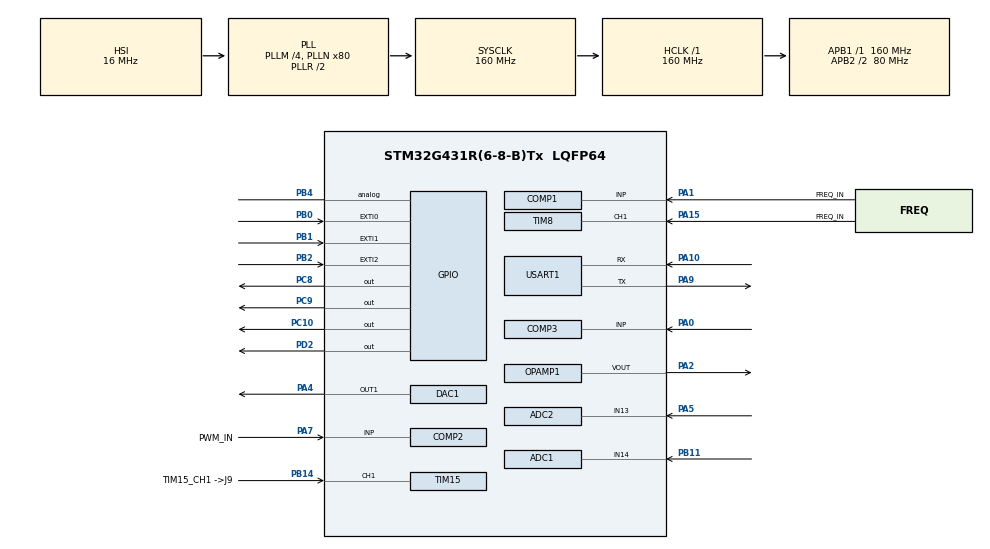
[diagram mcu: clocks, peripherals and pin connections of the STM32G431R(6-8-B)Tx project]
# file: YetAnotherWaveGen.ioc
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ADC1.Channel-0\#ChannelRegularConversion=ADC_CHANNEL_14
ADC1.NbrOfConversionFlag=1
ADC1.OffsetNumber-0\#ChannelRegularConversion=ADC_OFFSET_NONE
ADC1.Rank-0\#ChannelRegularConversion=1
ADC1.SamplingTime-0\#ChannelRegularConversion=ADC_SAMPLETIME_2CYCLES_5
ADC1.master=1
ADC2.Channel-2\#ChannelRegularConversion=ADC_CHANNEL_13
ADC2.NbrOfConversionFlag=1
ADC2.OffsetNumber-2\#ChannelRegularConversion=ADC_OFFSET_NONE
ADC2.Rank-2\#ChannelRegularConversion=1
ADC2.SamplingTime-2\#ChannelRegularConversion=ADC_SAMPLETIME_2CYCLES_5
COMP1.TriggerMode=COMP_TRIGGERMODE_EVENT_RISING_FALLING
COMP2.TriggerMode=COMP_TRIGGERMODE_EVENT_RISING_FALLING
COMP3.TriggerMode=COMP_TRIGGERMODE_IT_RISING
DAC1.DAC_OutputBuffer-DAC_OUT1=DAC_OUTPUTBUFFER_ENABLE
DAC1.DAC_SampleAndHold-DAC_OUT1=DAC_SAMPLEANDHOLD_DISABLE
DAC1.DAC_Trigger2_OUT1-DAC_OUT1=DAC_TRIGGER_NONE
DAC1.DAC_Trigger_OUT1-DAC_OUT1=DAC_TRIGGER_NONE
DAC3.DAC_Trigger2_OUT1-DAC_OUT1_Int=DAC_TRIGGER_NONE
DAC3.DAC_Trigger_OUT1-DAC_OUT1_Int=DAC_TRIGGER_NONE
Dma.ADC1.2.Direction=DMA_PERIPH_TO_MEMORY
Dma.ADC1.2.EventEnable=DISABLE
Dma.ADC1.2.Instance=DMA1_Channel3
Dma.ADC1.2.MemDataAlignment=DMA_MDATAALIGN_HALFWORD
Dma.ADC1.2.MemInc=DMA_MINC_ENABLE
Dma.ADC1.2.Mode=DMA_CIRCULAR
Dma.ADC1.2.PeriphDataAlignment=DMA_PDATAALIGN_HALFWORD
Dma.ADC1.2.PeriphInc=DMA_PINC_DISABLE
Dma.ADC1.2.Polarity=HAL_DMAMUX_REQ_GEN_RISING
Dma.ADC1.2.Priority=DMA_PRIORITY_LOW
Dma.ADC1.2.RequestNumber=1
Dma.ADC1.2.SignalID=NONE
Dma.ADC1.2.SyncEnable=DISABLE
Dma.ADC1.2.SyncPolarity=HAL_DMAMUX_SYNC_NO_EVENT
Dma.ADC1.2.SyncRequestNumber=1
Dma.ADC1.2.SyncSignalID=NONE
Dma.ADC2.4.Direction=DMA_PERIPH_TO_MEMORY
Dma.ADC2.4.EventEnable=DISABLE
Dma.ADC2.4.Instance=DMA1_Channel2
Dma.ADC2.4.MemDataAlignment=DMA_MDATAALIGN_HALFWORD
Dma.ADC2.4.MemInc=DMA_MINC_ENABLE
Dma.ADC2.4.Mode=DMA_CIRCULAR
Dma.ADC2.4.PeriphDataAlignment=DMA_PDATAALIGN_HALFWORD
Dma.ADC2.4.PeriphInc=DMA_PINC_DISABLE
Dma.ADC2.4.Polarity=HAL_DMAMUX_REQ_GEN_RISING
Dma.ADC2.4.Priority=DMA_PRIORITY_LOW
Dma.ADC2.4.RequestNumber=1
Dma.ADC2.4.SignalID=NONE
Dma.ADC2.4.SyncEnable=DISABLE
Dma.ADC2.4.SyncPolarity=HAL_DMAMUX_SYNC_NO_EVENT
Dma.ADC2.4.SyncRequestNumber=1
Dma.ADC2.4.SyncSignalID=NONE
Dma.CORDIC_READ.0.Direction=DMA_PERIPH_TO_MEMORY
Dma.CORDIC_READ.0.EventEnable=DISABLE
Dma.CORDIC_READ.0.Instance=DMA2_Channel2
Dma.CORDIC_READ.0.MemDataAlignment=DMA_MDATAALIGN_WORD
Dma.CORDIC_READ.0.MemInc=DMA_MINC_ENABLE
Dma.CORDIC_READ.0.Mode=DMA_NORMAL
Dma.CORDIC_READ.0.PeriphDataAlignment=DMA_PDATAALIGN_WORD
Dma.CORDIC_READ.0.PeriphInc=DMA_PINC_DISABLE
Dma.CORDIC_READ.0.Polarity=HAL_DMAMUX_REQ_GEN_RISING
Dma.CORDIC_READ.0.Priority=DMA_PRIORITY_LOW
Dma.CORDIC_READ.0.RequestNumber=1
Dma.CORDIC_READ.0.SignalID=NONE
Dma.CORDIC_READ.0.SyncEnable=DISABLE
Dma.CORDIC_READ.0.SyncPolarity=HAL_DMAMUX_SYNC_NO_EVENT
Dma.CORDIC_READ.0.SyncRequestNumber=1
Dma.CORDIC_READ.0.SyncSignalID=NONE
Dma.CORDIC_WRITE.1.Direction=DMA_MEMORY_TO_PERIPH
Dma.CORDIC_WRITE.1.EventEnable=DISABLE
Dma.CORDIC_WRITE.1.Instance=DMA2_Channel3
Dma.CORDIC_WRITE.1.MemDataAlignment=DMA_MDATAALIGN_WORD
Dma.CORDIC_WRITE.1.MemInc=DMA_MINC_ENABLE
Dma.CORDIC_WRITE.1.Mode=DMA_NORMAL
Dma.CORDIC_WRITE.1.PeriphDataAlignment=DMA_PDATAALIGN_WORD
Dma.CORDIC_WRITE.1.PeriphInc=DMA_PINC_DISABLE
Dma.CORDIC_WRITE.1.Polarity=HAL_DMAMUX_REQ_GEN_RISING
Dma.CORDIC_WRITE.1.Priority=DMA_PRIORITY_LOW
Dma.CORDIC_WRITE.1.RequestNumber=1
Dma.CORDIC_WRITE.1.SignalID=NONE
Dma.CORDIC_WRITE.1.SyncEnable=DISABLE
Dma.CORDIC_WRITE.1.SyncPolarity=HAL_DMAMUX_SYNC_NO_EVENT
Dma.CORDIC_WRITE.1.SyncRequestNumber=1
Dma.CORDIC_WRITE.1.SyncSignalID=NONE
Dma.Request0=CORDIC_READ
Dma.Request1=CORDIC_WRITE
Dma.Request2=ADC1
Dma.Request3=USART1_RX
Dma.Request4=ADC2
Dma.Request5=TIM15_CH1
Dma.Request6=TIM8_CH1
Dma.Request7=TIM4_CH1
Dma.Request8=TIM1_CH1
Dma.Request9=TIM1_CH2
Dma.TIM15_CH1.5.Direction=DMA_PERIPH_TO_MEMORY
Dma.TIM15_CH1.5.EventEnable=DISABLE
Dma.TIM15_CH1.5.Instance=DMA2_Channel1
Dma.TIM15_CH1.5.MemDataAlignment=DMA_MDATAALIGN_HALFWORD
Dma.TIM15_CH1.5.MemInc=DMA_MINC_ENABLE
Dma.TIM15_CH1.5.Mode=DMA_CIRCULAR
Dma.TIM15_CH1.5.PeriphDataAlignment=DMA_PDATAALIGN_WORD
Dma.TIM15_CH1.5.PeriphInc=DMA_PINC_DISABLE
Dma.TIM15_CH1.5.Polarity=HAL_DMAMUX_REQ_GEN_RISING
Dma.TIM15_CH1.5.Priority=DMA_PRIORITY_LOW
Dma.TIM15_CH1.5.RequestNumber=1
Dma.TIM15_CH1.5.SignalID=NONE
Dma.TIM15_CH1.5.SyncEnable=DISABLE
Dma.TIM15_CH1.5.SyncPolarity=HAL_DMAMUX_SYNC_NO_EVENT
Dma.TIM15_CH1.5.SyncRequestNumber=1
Dma.TIM15_CH1.5.SyncSignalID=NONE
Dma.TIM1_CH1.8.Direction=DMA_PERIPH_TO_MEMORY
Dma.TIM1_CH1.8.EventEnable=DISABLE
Dma.TIM1_CH1.8.Instance=DMA1_Channel6
Dma.TIM1_CH1.8.MemDataAlignment=DMA_MDATAALIGN_HALFWORD
Dma.TIM1_CH1.8.MemInc=DMA_MINC_ENABLE
Dma.TIM1_CH1.8.Mode=DMA_CIRCULAR
Dma.TIM1_CH1.8.PeriphDataAlignment=DMA_PDATAALIGN_WORD
Dma.TIM1_CH1.8.PeriphInc=DMA_PINC_DISABLE
Dma.TIM1_CH1.8.Polarity=HAL_DMAMUX_REQ_GEN_RISING
Dma.TIM1_CH1.8.Priority=DMA_PRIORITY_LOW
Dma.TIM1_CH1.8.RequestNumber=1
Dma.TIM1_CH1.8.SignalID=NONE
Dma.TIM1_CH1.8.SyncEnable=DISABLE
Dma.TIM1_CH1.8.SyncPolarity=HAL_DMAMUX_SYNC_NO_EVENT
Dma.TIM1_CH1.8.SyncRequestNumber=1
Dma.TIM1_CH1.8.SyncSignalID=NONE
Dma.TIM1_CH2.9.Direction=DMA_PERIPH_TO_MEMORY
Dma.TIM1_CH2.9.EventEnable=DISABLE
Dma.TIM1_CH2.9.Instance=DMA2_Channel6
Dma.TIM1_CH2.9.MemDataAlignment=DMA_MDATAALIGN_HALFWORD
Dma.TIM1_CH2.9.MemInc=DMA_MINC_ENABLE
Dma.TIM1_CH2.9.Mode=DMA_CIRCULAR
Dma.TIM1_CH2.9.PeriphDataAlignment=DMA_PDATAALIGN_WORD
Dma.TIM1_CH2.9.PeriphInc=DMA_PINC_DISABLE
Dma.TIM1_CH2.9.Polarity=HAL_DMAMUX_REQ_GEN_RISING
Dma.TIM1_CH2.9.Priority=DMA_PRIORITY_LOW
Dma.TIM1_CH2.9.RequestNumber=1
Dma.TIM1_CH2.9.SignalID=NONE
Dma.TIM1_CH2.9.SyncEnable=DISABLE
Dma.TIM1_CH2.9.SyncPolarity=HAL_DMAMUX_SYNC_NO_EVENT
Dma.TIM1_CH2.9.SyncRequestNumber=1
Dma.TIM1_CH2.9.SyncSignalID=NONE
Dma.TIM4_CH1.7.Direction=DMA_PERIPH_TO_MEMORY
Dma.TIM4_CH1.7.EventEnable=DISABLE
Dma.TIM4_CH1.7.Instance=DMA2_Channel4
Dma.TIM4_CH1.7.MemDataAlignment=DMA_MDATAALIGN_HALFWORD
Dma.TIM4_CH1.7.MemInc=DMA_MINC_ENABLE
Dma.TIM4_CH1.7.Mode=DMA_CIRCULAR
Dma.TIM4_CH1.7.PeriphDataAlignment=DMA_PDATAALIGN_WORD
Dma.TIM4_CH1.7.PeriphInc=DMA_PINC_DISABLE
Dma.TIM4_CH1.7.Polarity=HAL_DMAMUX_REQ_GEN_RISING
Dma.TIM4_CH1.7.Priority=DMA_PRIORITY_LOW
Dma.TIM4_CH1.7.RequestNumber=1
Dma.TIM4_CH1.7.SignalID=NONE
Dma.TIM4_CH1.7.SyncEnable=DISABLE
Dma.TIM4_CH1.7.SyncPolarity=HAL_DMAMUX_SYNC_NO_EVENT
Dma.TIM4_CH1.7.SyncRequestNumber=1
Dma.TIM4_CH1.7.SyncSignalID=NONE
Dma.TIM8_CH1.6.Direction=DMA_PERIPH_TO_MEMORY
Dma.TIM8_CH1.6.EventEnable=DISABLE
Dma.TIM8_CH1.6.Instance=DMA2_Channel5
Dma.TIM8_CH1.6.MemDataAlignment=DMA_MDATAALIGN_HALFWORD
Dma.TIM8_CH1.6.MemInc=DMA_MINC_ENABLE
Dma.TIM8_CH1.6.Mode=DMA_CIRCULAR
Dma.TIM8_CH1.6.PeriphDataAlignment=DMA_PDATAALIGN_WORD
Dma.TIM8_CH1.6.PeriphInc=DMA_PINC_DISABLE
Dma.TIM8_CH1.6.Polarity=HAL_DMAMUX_REQ_GEN_RISING
Dma.TIM8_CH1.6.Priority=DMA_PRIORITY_LOW
Dma.TIM8_CH1.6.RequestNumber=1
Dma.TIM8_CH1.6.SignalID=NONE
Dma.TIM8_CH1.6.SyncEnable=DISABLE
Dma.TIM8_CH1.6.SyncPolarity=HAL_DMAMUX_SYNC_NO_EVENT
Dma.TIM8_CH1.6.SyncRequestNumber=1
Dma.TIM8_CH1.6.SyncSignalID=NONE
Dma.USART1_RX.3.Direction=DMA_PERIPH_TO_MEMORY
Dma.USART1_RX.3.EventEnable=DISABLE
Dma.USART1_RX.3.Instance=DMA1_Channel4
Dma.USART1_RX.3.MemDataAlignment=DMA_MDATAALIGN_BYTE
Dma.USART1_RX.3.MemInc=DMA_MINC_ENABLE
Dma.USART1_RX.3.Mode=DMA_NORMAL
Dma.USART1_RX.3.PeriphDataAlignment=DMA_PDATAALIGN_BYTE
Dma.USART1_RX.3.PeriphInc=DMA_PINC_DISABLE
Dma.USART1_RX.3.Polarity=HAL_DMAMUX_REQ_GEN_RISING
Dma.USART1_RX.3.Priority=DMA_PRIORITY_LOW
Dma.USART1_RX.3.RequestNumber=1
Dma.USART1_RX.3.SignalID=NONE
Dma.USART1_RX.3.SyncEnable=DISABLE
Dma.USART1_RX.3.SyncPolarity=HAL_DMAMUX_SYNC_NO_EVENT
Dma.USART1_RX.3.SyncRequestNumber=1
Dma.USART1_RX.3.SyncSignalID=NONE
Mcu.Family=STM32G4
Mcu.Name=STM32G431R(6-8-B)Tx
Mcu.Package=LQFP64
NVIC.ADC1_2_IRQn=true\:2\:0\:true\:false\:true\:true\:true\:true
NVIC.COMP1_2_3_IRQn=true\:1\:0\:true\:false\:true\:false\:true\:true
NVIC.CORDIC_IRQn=true\:3\:0\:true\:false\:true\:true\:true\:true
NVIC.DMA1_Channel2_IRQn=true\:0\:0\:false\:false\:true\:false\:true\:true
NVIC.DMA1_Channel3_IRQn=true\:0\:0\:false\:false\:true\:false\:true\:true
NVIC.DMA1_Channel4_IRQn=true\:0\:0\:false\:false\:true\:false\:true\:true
NVIC.DMA1_Channel6_IRQn=true\:0\:0\:false\:false\:true\:false\:true\:true
NVIC.DMA2_Channel1_IRQn=true\:2\:0\:true\:false\:true\:false\:true\:true
NVIC.DMA2_Channel2_IRQn=true\:2\:0\:true\:false\:true\:false\:true\:true
NVIC.DMA2_Channel3_IRQn=true\:2\:0\:true\:false\:true\:false\:true\:true
NVIC.DMA2_Channel4_IRQn=true\:2\:0\:true\:false\:true\:false\:true\:true
NVIC.DMA2_Channel5_IRQn=true\:2\:0\:true\:false\:true\:false\:true\:true
NVIC.DMA2_Channel6_IRQn=true\:2\:0\:true\:false\:true\:false\:true\:true
NVIC.EXTI0_IRQn=true\:1\:0\:true\:false\:true\:true\:true\:true
NVIC.EXTI1_IRQn=true\:1\:0\:true\:false\:true\:true\:true\:true
NVIC.EXTI2_IRQn=true\:1\:0\:true\:false\:true\:true\:true\:true
NVIC.PriorityGroup=NVIC_PRIORITYGROUP_4
NVIC.TIM1_CC_IRQn=true\:2\:0\:true\:false\:true\:true\:true\:true
NVIC.TIM1_UP_TIM16_IRQn=true\:3\:0\:true\:false\:true\:true\:true\:true
NVIC.TIM2_IRQn=true\:2\:0\:true\:false\:true\:true\:true\:true
NVIC.TIM4_IRQn=true\:2\:0\:true\:false\:true\:true\:true\:true
NVIC.TIM6_DAC_IRQn=true\:2\:0\:true\:false\:true\:true\:true\:true
NVIC.TIM7_IRQn=true\:2\:0\:true\:false\:true\:true\:true\:true
NVIC.USART1_IRQn=true\:2\:0\:true\:false\:true\:true\:true\:true
OPAMP1.PowerMode=OPAMP_POWERMODE_HIGHSPEED
PA0.Mode=INP
PA0.Signal=COMP3_INP
PA1.GPIO_Label=FREQ_IN
PA1.Mode=INP
PA1.Signal=COMP1_INP
PA10.Mode=Asynchronous
PA10.Signal=USART1_RX
PA13.Mode=Serial_Wire
PA13.Signal=SYS_JTMS-SWDIO
PA14.Mode=Serial_Wire
PA14.Signal=SYS_JTCK-SWCLK
PA15.GPIO_Label=FREQ_IN
PA15.Signal=S_TIM8_CH1
PA2.Mode=Follower-DAC_OUT2-INP
PA2.Signal=OPAMP1_VOUT
PA4.Signal=COMP_DAC11_group
PA5.Mode=IN13-Single-Ended
PA5.Signal=ADC2_IN13
PA7.GPIO_Label=PWM_IN
PA7.Mode=INP
PA7.Signal=COMP2_INP
PA9.Mode=Asynchronous
PA9.Signal=USART1_TX
PB0.Signal=GPXTI0
PB1.Signal=GPXTI1
PB11.Mode=IN14-Single-Ended
PB11.Signal=ADC1_IN14
PB14.GPIO_Label=TIM15_CH1 ->J9
PB14.Signal=S_TIM15_CH1
PB2.Signal=GPXTI2
PB4.Signal=GPIO_Analog
PC10.Signal=GPIO_Output
PC8.Signal=GPIO_Output
PC9.Signal=GPIO_Output
PD2.Signal=GPIO_Output
PF0-OSC_IN.Mode=HSE-External-Oscillator
PF0-OSC_IN.Signal=RCC_OSC_IN
PF1-OSC_OUT.Mode=HSE-External-Oscillator
PF1-OSC_OUT.Signal=RCC_OSC_OUT
ProjectManager.HeapSize=0x200
ProjectManager.StackSize=0x400
ProjectManager.TargetToolchain=MDK-ARM V5
RCC.ADC12Freq_Value=160000000
RCC.AHBFreq_Value=160000000
RCC.APB1Freq_Value=160000000
RCC.APB1TimFreq_Value=160000000
RCC.APB2CLKDivider=RCC_HCLK_DIV2
RCC.APB2Freq_Value=80000000
RCC.APB2TimFreq_Value=160000000
RCC.CortexFreq_Value=160000000
RCC.EXTERNAL_CLOCK_VALUE=12288000
RCC.HCLKFreq_Value=160000000
RCC.HSE_VALUE=8000000
RCC.HSI48_VALUE=48000000
RCC.HSI_VALUE=16000000
RCC.LSE_VALUE=32768
RCC.PLLM=RCC_PLLM_DIV4
RCC.PLLN=80
RCC.SYSCLKFreq_VALUE=160000000
RCC.SYSCLKSource=RCC_SYSCLKSOURCE_PLLCLK
RCC.USBFreq_Value=160000000
RCC.VCOOutputFreq_Value=320000000
SH.COMP_DAC11_group.0=DAC1_OUT1,DAC_OUT1
SH.S_TIM15_CH1.0=TIM15_CH1,Input_Capture1_from_TI1
SH.S_TIM15_CH1.1=TIM15_CH1,TriggerSource_TI1FP1
SH.S_TIM8_CH1.0=TIM8_CH1,TriggerSource_TI1FP1
SH.S_TIM8_CH1.1=TIM8_CH1,Input_Capture1_from_TI1
TIM1.Channel-Input_Capture1_from_TI1_REMAP_TIM1=TIM_CHANNEL_1
TIM1.Channel-Input_Capture2_from_TI1_63=TIM_CHANNEL_2
TIM1.ICPolarity_CH1=TIM_INPUTCHANNELPOLARITY_FALLING
TIM1.Prescaler=159
TIM1.TIM1_ETR_REMAP-TriggerSource_ETR_Remap_TIM1=TIM_TIM1_ETR_COMP2
TIM1.TIM1_TI1_REMAP-Input_Capture1_from_TI1_REMAP_TIM1=TIM_TIM1_TI1_COMP2
TIM15.Channel-Input_Capture1_from_TI1=TIM_CHANNEL_1
TIM15.Prescaler=159
TIM16.AutoReloadPreload=TIM_AUTORELOAD_PRELOAD_ENABLE
TIM16.PeriodNoDither=9999
TIM16.Prescaler=1599
TIM2.AutoReloadPreload=TIM_AUTORELOAD_PRELOAD_ENABLE
TIM2.PeriodNoDither=1599
TIM2.TIM_MasterOutputTrigger=TIM_TRGO_UPDATE
TIM2.TIM_MasterSlaveMode=TIM_MASTERSLAVEMODE_ENABLE
TIM4.Channel-Input_Capture1_from_TI1_REMAP_TIM4=TIM_CHANNEL_1
TIM4.PeriodNoDither=65535
TIM4.Prescaler=159
TIM4.TIM_MasterOutputTrigger=TIM_TRGO_RESET
TIM4.TIM_MasterSlaveMode=TIM_MASTERSLAVEMODE_DISABLE
TIM6.AutoReloadPreload=TIM_AUTORELOAD_PRELOAD_ENABLE
TIM6.PeriodNoDither=9999
TIM6.Prescaler=1599
TIM7.AutoReloadPreload=TIM_AUTORELOAD_PRELOAD_ENABLE
TIM7.Prescaler=159
TIM8.Channel-Input_Capture1_from_TI1=TIM_CHANNEL_1
TIM8.Prescaler=159
USART1.VirtualMode-Asynchronous=VM_ASYNC
VP_COMP1_VS_VREFINT14.Mode=VREFINT_14
VP_COMP2_VS_VREFINT14.Mode=VREFINT_14
VP_COMP3_VS_VREFINT.Mode=VREFINT
VP_CORDIC_VS_CORDIC.Mode=CORDIC_Activate
VP_DAC3_VS_DACI1.Mode=DAC_OUT1_Int
VP_SYS_VS_DBSignals.Mode=DisableDeadBatterySignals
VP_TIM15_VS_ClockSourceINT.Mode=Internal
VP_TIM15_VS_ControllerModeReset.Mode=Reset Mode
VP_TIM16_VS_ClockSourceINT.Mode=Enable_Timer
VP_TIM1_VS_ClockSourceINT.Mode=Internal
VP_TIM1_VS_ControllerModeReset.Mode=Reset Mode
VP_TIM1_VS_NoETR.Mode=TriggerSource_ETR_Remap_TIM1
VP_TIM1_VS_NoInput1.Mode=Input_Capture1_from_TI1_REMAP_TIM1
VP_TIM1_VS_indirect_ch1.Mode=Input_Capture2_from_TI1_63
VP_TIM2_VS_ClockSourceINT.Mode=Internal
VP_TIM3_VS_ClockSourceITR.Mode=TriggerSource_ITR1
VP_TIM3_VS_ControllerModeClock.Mode=Clock Mode
VP_TIM4_VS_ClockSourceINT.Mode=Internal
VP_TIM4_VS_ControllerModeReset.Mode=Reset Mode
VP_TIM4_VS_NoETR.Mode=TriggerSource_ETR_Remap_TIM4
VP_TIM4_VS_NoInput1.Mode=Input_Capture1_from_TI1_REMAP_TIM4
VP_TIM6_VS_ClockSourceINT.Mode=Enable_Timer
VP_TIM7_VS_ClockSourceINT.Mode=Enable_Timer
VP_TIM8_VS_ClockSourceINT.Mode=Internal
VP_TIM8_VS_ControllerModeReset.Mode=Reset Mode
board=custom

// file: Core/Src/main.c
/* USER CODE BEGIN Header */
/**
 ******************************************************************************
 * @file           : main.c
 * @brief          : Main program body
 ******************************************************************************
 * @attention
 *
 * Copyright (c) 2023 STMicroelectronics.
 * All rights reserved.
 *
 * This software is licensed under terms that can be found in the LICENSE file
 * in the root directory of this software component.
 * If no LICENSE file comes with this software, it is provided AS-IS.
 *
 ******************************************************************************
 */
/* USER CODE END Header */
#include "main.h"
#include "adc.h"
#include "comp.h"
#include "cordic.h"
#include "dac.h"
#include "dma.h"
#include "opamp.h"
#include "tim.h"
#include "usart.h"
#include "gpio.h"

/* USER CODE BEGIN Includes */

#include <stdbool.h>
#include <stdlib.h>
#include <stdarg.h>
#include <stdio.h>
#include <string.h>
#include <math.h>
#include "lcd.h"

/* USER CODE END Includes */

/* USER CODE BEGIN PTD */

typedef struct _WaveOptions
{
	bool on;
	uint16_t A;  // CON mode ignore
	uint16_t dA; // CON mode ignore, x0.01
	uint16_t F;  // CON mode ignore
	uint16_t T;  // CON mode ignore
	int16_t O;
	int16_t dO;
	uint16_t D;  // PWM only
	uint16_t HT; // PWM only
} WaveOptions;

/* USER CODE END PTD */

/* USER CODE BEGIN PD */

#define GRAPH_UPD_F 40 // Hz
#define Pi 3.141593f
#define DARK_MAG /*0x9814*/ White

#define PwmFunc (opts[0].A * (__HAL_TIM_GetCounter(&htim3) < opts[0].HT) + opts[0].O)
//#define TriFunc	(opts[1].A * ((__HAL_TIM_GetCounter(&htim3) % 2) ? (1 - (float)__HAL_TIM_GetCounter(&htim3) / __HAL_TIM_GET_AUTORELOAD(&htim3)) : \
	((float)__HAL_TIM_GetCounter(&htim3) / __HAL_TIM_GET_AUTORELOAD(&htim3))) + opts[1].O)
#define SawFunc (opts[3].A * (float)__HAL_TIM_GetCounter(&htim3) / __HAL_TIM_GET_AUTORELOAD(&htim3) + opts[3].O)
// Triangle wave alg: uses a saw func but twice the size
#define TriFunc (opts[1].A * fabs((float)__HAL_TIM_GetCounter(&htim3) / __HAL_TIM_GET_AUTORELOAD(&htim3) * 2 - 1) + opts[1].O)
#define SinFunc (opts[2].A * sin((float)__HAL_TIM_GetCounter(&htim3) / __HAL_TIM_GET_AUTORELOAD(&htim3) * Pi * 2) / 2 + opts[2].O + 2048)
#define ConFunc opts[4].O

/* USER CODE END PD */

/* USER CODE BEGIN PM */

#define lds(x, s)                           \
	HAL_GPIO_WritePin(GPIOC, 0x0080 << x, s); \
	HAL_GPIO_WritePin(GPIOD, 0x0002, 1);      \
	HAL_GPIO_WritePin(GPIOD, 0x0002, 0)

#define transmit(m) \
	HAL_UART_Transmit(&huart1, (uint8_t *)m, sizeof(m), 0x7FFF)

// Do not use
#define SinSend(x, f) /*Call sinSend(cnt+1) right after the calculated value is used to minimize waiting time*/ \
	sinCalcBuf = ((int)(x * f * .5 - 1) << 16) + 1;                                                               \
	memset(sinCalcRes, 0, 2);                                                                                     \
	waitCalc = true;                                                                                              \
	HAL_CORDIC_Calculate_DMA(&hcordic, &sinCalcBuf, (int32_t *)sinCalcRes, 1, CORDIC_DMA_DIR_IN_OUT)

#define getKeyRange(v)                                                                                           \
	((v < 2500) ? (v < 1500) ? 3 - !(v & 0xFF00) - !(v & 0xFC00) : 5 - !(v & 0xF800) : (v < 3600) ? 6 + (v > 3000) \
																																																: (v < 4000) << 3)

#define lcdSideUpdAll()   \
	for (int i = 4; i;)   \
		lcdUpdSide(i--, false)

#define debug(x)                                            \
	uint8_t *t = format("%6d", x); \
	LCD_DisplayStringLine(Line1, t);                          \
	free(t)

/* USER CODE END PM */

/* USER CODE BEGIN PV */

const uint8_t topStr[] = "PWM Wave \0Triangle \0Sine Wave\0Sawtooth \0Constant ";
const uint8_t onOffStr[] = "Off \0 On ";
const uint8_t altsStr[] = " DA \0TIMR\0DA_1";

uint16_t adcBuf[2] = {0}; // use as uint32_t in DMA
uint32_t adc1Buf = 0;
// uint32_t	dac1val		= 0;
// uint32_t	dac3val		= 0;
uint8_t topSel = 0;  // 0 - 4 valid
uint8_t sideSel = 0; // 0 - 7/8 valid
uint16_t graphY = 310;

WaveOptions opts[5];
WaveOptions *currentOpts = opts;

int32_t sinCalcBuf = 0;
volatile int16_t sinCalcRes[2] = {0};

uint16_t adcLoopbackLastVal = 220;
uint16_t dacGraphLastVal = 220;

bool waitCalc = false;

uint8_t rxBuf[128] = {0};
bool rxIdle = false;
uint32_t rxLen = 0;

//Analog input vars

bool aInput = false;

//freq max ~32000Hz, min ~700Hz

uint32_t pwmData[5] = {0};
uint32_t f1Data[5] = {0};
uint32_t f2Data[5] = {0};
uint32_t f3Data[5] = {0};

uint32_t npwm = 0;
uint32_t nf1  = 0;
uint32_t nf2  = 0;
uint32_t nf3  = 0;

uint32_t val;

volatile uint32_t pwm1;
volatile uint32_t pwm2;
volatile uint32_t f1;
volatile uint32_t f2;
volatile uint32_t f3;

/* USER CODE END PV */

void SystemClock_Config(void);
/* USER CODE BEGIN PFP */

uint8_t *format(char *, ...);

void HAL_TIM_PeriodElapsedCallback(TIM_HandleTypeDef *);
void HAL_GPIO_EXTI_Callback(uint16_t);
void HAL_COMP_TriggerCallback(COMP_HandleTypeDef *);
void HAL_CORDIC_CalculateCpltCallback(CORDIC_HandleTypeDef *);

void emuSetTim(const uint16_t);
void lcdSideShow(uint8_t, const uint8_t *, bool, bool);
void lcdUpdSide(uint8_t, bool);
void drawPt(uint16_t, uint16_t, uint16_t);
void graphReset(void);
void AAProc(uint16_t, uint16_t);
uint16_t filter(uint32_t *);

/* USER CODE END PFP */

int main(void)
{

  /* MCU Configuration--------------------------------------------------------*/

  /* Reset of all peripherals, Initializes the Flash interface and the Systick. */
  HAL_Init();

  /* Configure the system clock */
  SystemClock_Config();

  /* Initialize all configured peripherals */
  MX_GPIO_Init();
  MX_DMA_Init();
  MX_DAC3_Init();
  MX_OPAMP1_Init();
  MX_ADC2_Init();
  MX_CORDIC_Init();
  MX_DAC1_Init();
  MX_TIM2_Init();
  MX_COMP3_Init();
  MX_TIM7_Init();
  MX_TIM4_Init();
  MX_TIM3_Init();
  MX_ADC1_Init();
  MX_USART1_UART_Init();
  MX_COMP1_Init();
  MX_COMP2_Init();
  MX_TIM1_Init();
  MX_TIM6_Init();
  MX_TIM8_Init();
  MX_TIM15_Init();
  MX_TIM16_Init();
  /* USER CODE BEGIN 2 */

	// options init
	for (int i = 5; --i;)
	{
		currentOpts->on = false;      // str+0, +5
		currentOpts->A = 4095u;        // No display
		currentOpts->dA = 330u;
		currentOpts->D = 0u;
		currentOpts->F = 1u;
		currentOpts->HT = 0u; // No display
		// currentOpts->T	= 1;		//No display
		currentOpts->O = 0; // No display
		currentOpts->dO = 0;
		++currentOpts;
	}
	currentOpts = opts;

	// transmit("Initializing...");
	// uint8_t *txBuf = (uint8_t *)"Init......";
	// HAL_UART_Transmit_DMA(&huart1, txBuf, 11);
	// __HAL_UART_ENABLE_IT(&huart1, UART_IT_IDLE);
	// HAL_UART_Receive_DMA(&huart1, rxBuf, 128);

	CORDIC_ConfigTypeDef cordicCfg;
	cordicCfg.Function = CORDIC_FUNCTION_SINE;
	cordicCfg.InSize = CORDIC_INSIZE_16BITS;
	cordicCfg.OutSize = CORDIC_OUTSIZE_16BITS;
	cordicCfg.Scale = CORDIC_SCALE_0;
	cordicCfg.NbRead = CORDIC_NBREAD_2;
	cordicCfg.NbWrite = CORDIC_NBWRITE_2;
	cordicCfg.Precision = CORDIC_PRECISION_10CYCLES;
	HAL_CORDIC_Configure(&hcordic, &cordicCfg);

	HAL_OPAMP_SelfCalibrate(&hopamp1);
	HAL_OPAMP_Start(&hopamp1);

	LCD_Init();
	LCD_SetBackColor(Black);
	LCD_SetTextColor(White);
	LCD_Clear(Black);
	LCD_DrawRect(30, 320, 200, 250);
	LCD_SetTextColor(Red);
	LCD_DrawLine(58, 310, 230, Horizontal);  // 0.0V
	LCD_DrawLine(220, 310, 230, Horizontal); // 3.3V
	LCD_SetTextColor(White);
	LCD_DrawLine(73, 310, 230, Horizontal);  // 1.0V
	LCD_DrawLine(122, 310, 230, Horizontal); // 2.0V
	LCD_DrawLine(171, 310, 230, Horizontal); // 3.0V
	LCD_DisplayStringLine(Line0, (uint8_t *)(topStr + topSel * 10));
	lcdUpdSide(1, false);
	lcdUpdSide(2, false);
	lcdUpdSide(3, false);
	sideSel = 0;
	lcdSideShow(Line1, (uint8_t *)"Ampl", false, false);
	lcdSideShow(Line3, (uint8_t *)"Freq", false, false);
	lcdSideShow(Line5, (uint8_t *)"Ofst", false, false);
	lcdSideShow(Line7, (uint8_t *)"Duty\0    " + (topSel != 0), false, false);
	lcdSideShow(Line0, (uint8_t *)"Off ", true, false);

	HAL_COMP_Start(&hcomp3);

	HAL_ADCEx_Calibration_Start(&hadc2, ADC_SINGLE_ENDED);
	HAL_ADC_Start_DMA(&hadc2, (uint32_t *)adcBuf, 2);

	HAL_ADCEx_Calibration_Start(&hadc1, ADC_SINGLE_ENDED);
	HAL_ADC_Start_DMA(&hadc1, &adc1Buf, 1);

	// HAL_DAC_SetValue(&hdac1, DAC_CHANNEL_1, DAC_ALIGN_12B_R, 0);
	// HAL_DAC_SetValue(&hdac3, DAC_CHANNEL_1, DAC_ALIGN_12B_R, 0);
	HAL_DAC_Start(&hdac1, DAC_CHANNEL_1);
	HAL_DAC_Start(&hdac3, DAC_CHANNEL_1);
//	HAL_DAC_Start_DMA(&hdac1, DAC_CHANNEL_1, &val, 1, DAC_ALIGN_12B_R);
//	HAL_DAC_Start_DMA(&hdac3, DAC_CHANNEL_1, &val, 1, DAC_ALIGN_12B_R);

	__HAL_TIM_SetAutoreload(&htim7, 1000000 / GRAPH_UPD_F);

	HAL_TIM_Base_Start_IT(&htim4); // ADC trigger
	HAL_TIM_Base_Start(&htim3);    // DAC clock
	HAL_TIM_Base_Start_IT(&htim6); //DAC updater
	HAL_TIM_Base_Start_IT(&htim2); // new DAC updater
	HAL_TIM_Base_Start_IT(&htim7); //Graphic updater

	//Analog input
	HAL_COMP_Start(&hcomp1);
	HAL_COMP_Start(&hcomp2);
	HAL_TIM_IC_Start_DMA(&htim1, TIM_CHANNEL_1, &pwm1, 1);
	HAL_TIM_IC_Start_DMA(&htim1, TIM_CHANNEL_2, &pwm2, 1);
	HAL_TIM_IC_Start_DMA(&htim4, TIM_CHANNEL_1, &f1, 1);
	HAL_TIM_IC_Start_DMA(&htim8, TIM_CHANNEL_1, &f2, 1);
	HAL_TIM_IC_Start_DMA(&htim15, TIM_CHANNEL_1, &f3, 1);

	HAL_TIM_Base_Start_IT(&htim16);

	register int kr;
	register bool waitLift = false;

  /* USER CODE END 2 */

  /* Infinite loop */
  /* USER CODE BEGIN WHILE */
	while (1)
	{
		kr = getKeyRange(adcBuf[0]);
		//		uint8_t *t = format("%4d %4d", kr, adcBuf[0]);
		//		LCD_DisplayStringLine(Line8, t);
		//		free(t);

		if (!kr)
		{
			waitLift = false;
			continue;
		}
		if (!waitLift && !aInput && kr == getKeyRange(adcBuf[1]))
		{
			switch (getKeyRange(adcBuf[0]))
			{
			case 1: //-1000
				if (sideSel == 1)
				{
					currentOpts->dA = 0;
					currentOpts->A = currentOpts->dA / 330.0 * 0x0FFF;
					break;
				}
				if (sideSel == 2)
				{
					if (currentOpts->F <= 1001)
						currentOpts->F = 1;
					else
						currentOpts->F -= 1000;
					__HAL_TIM_SetAutoreload(&htim3, 10000 / currentOpts->F);
					break;
				}
				if (sideSel == 3)
				{
					currentOpts->dO = 0;
					currentOpts->O = currentOpts->dO / 330.0 * 0x0FFF;
					break;
				}
				if (sideSel == 4)
				{
					currentOpts->D = 0;
					break;
				}
				break;
			case 2: //-100
				if (sideSel == 1)
				{
					if (currentOpts->dA < 101)
						currentOpts->dA = 0;
					else
						currentOpts->dA -= 100;
					currentOpts->A = currentOpts->dA / 330.0 * 0x0FFF;
					break;
				}
				if (sideSel == 2)
				{
					if (currentOpts->F < 102)
						currentOpts->F = 1;
					else
						currentOpts->F -= 100;
					__HAL_TIM_SetAutoreload(&htim3, 10000 / currentOpts->F);
					break;
				}
				if (sideSel == 3)
				{
					if (currentOpts->dO < 101)
						currentOpts->O = 0;
					else
						currentOpts->dO -= 100;
					currentOpts->O = currentOpts->dO / 330.0 * 0x0FFF;
				}
				if (sideSel == 4)
				{
					currentOpts->D = 0;
					break;
				}
				break;
			case 3: //-10
				if (sideSel == 1)
				{
					if (currentOpts->dA < 11)
						currentOpts->dA = 0;
					else
						currentOpts->dA -= 10;
					currentOpts->A = currentOpts->dA / 330.0 * 0x0FFF;
					break;
				}
				if (sideSel == 2)
				{
					if (currentOpts->F < 12)
						currentOpts->F = 1;
					else
						currentOpts->F -= 10;
					__HAL_TIM_SetAutoreload(&htim3, 10000 / currentOpts->F);
					break;
				}
				if (sideSel == 3)
				{
					if (currentOpts->dO < 11)
						currentOpts->O = 0;
					else
						currentOpts->dO -= 10;
					currentOpts->O = currentOpts->dO / 330.0 * 0x0FFF;
				}
				if (sideSel == 4)
				{
					if (currentOpts->D < 11)
						currentOpts->D = 0;
					else
						currentOpts->D -= 10;
					break;
				}
				break;
			case 4: //-1
				if (sideSel == 1)
				{
					if (currentOpts->dA < 1)
						break;
					currentOpts->dA--;
					currentOpts->A = currentOpts->dA / 330.0 * 0x0FFF;
					break;
				}
				if (sideSel == 2)
				{
					if (currentOpts->F < 2)
						break;
					currentOpts->F--;
					__HAL_TIM_SetAutoreload(&htim3, 10000 / currentOpts->F);
					break;
				}
				if (sideSel == 3)
				{
					if (currentOpts->dO < 1)
						break;
					currentOpts->dO--;
					currentOpts->O = currentOpts->dO / 330.0 * 0x0FFF;
				}
				if (sideSel == 4)
				{
					if (currentOpts->D < 1)
						break;
					currentOpts->D--;
					break;
				}
				break;
			case 5: //+1000
				if (sideSel == 1)
				{
					currentOpts->dA = 330;
					currentOpts->A = currentOpts->dA / 330.0 * 0x0FFF;
					break;
				}
				if (sideSel == 2)
				{
					if (currentOpts->F > 8998)
						currentOpts->F = 9999;
					else
						currentOpts->F += 1000;
					__HAL_TIM_SetAutoreload(&htim3, 10000 / currentOpts->F);
					break;
				}
				if (sideSel == 3)
				{
					currentOpts->dO = 330 - currentOpts->dA;
					currentOpts->O = currentOpts->dO / 330.0 * 0x0FFF;
					break;
				}
				if (sideSel == 4)
				{
					currentOpts->D = 100;
					break;
				}
				break;
			case 6: //+100
				if (sideSel == 1)
				{
					if (currentOpts->dO + currentOpts->dA > 229)
						currentOpts->A = 330 - currentOpts->dA;
					else
						currentOpts->dA += 100;
					currentOpts->A = currentOpts->dA / 330.0 * 0x0FFF;
					break;
				}
				if (sideSel == 2)
				{
					if (currentOpts->F > 9898)
						currentOpts->F = 9999;
					else
						currentOpts->F += 100;
					__HAL_TIM_SetAutoreload(&htim3, 10000 / currentOpts->F);
					break;
				}
				if (sideSel == 3)
				{
					if (currentOpts->dO + currentOpts->dA > 229)
						currentOpts->O = 330 - currentOpts->dA;
					else
						currentOpts->dO += 100;
					currentOpts->O = currentOpts->dO / 330.0 * 0x0FFF;
					break;
				}
				if (sideSel == 4)
				{
					currentOpts->D = 100;
					break;
				}
				break;
			case 7: //+10
				if (sideSel == 1)
				{
					if (currentOpts->dO + currentOpts->dA > 319)
						currentOpts->dA = 330 - currentOpts->dA;
					else
						currentOpts->dA += 10;
					currentOpts->A = currentOpts->dA / 330.0 * 0x0FFF;
					break;
				}
				if (sideSel == 2)
				{
					if (currentOpts->F > 9988)
						currentOpts->F = 9999;
					else
						currentOpts->F += 10;
					__HAL_TIM_SetAutoreload(&htim3, 10000 / currentOpts->F);
					break;
				}
				if (sideSel == 3)
				{
					if (currentOpts->dO + currentOpts->dA > 319)
						currentOpts->O = 330 - currentOpts->dA;
					else
						currentOpts->dO += 10;
					currentOpts->O = currentOpts->dO / 330.0 * 0x0FFF;
					break;
				}
				if (sideSel == 4)
				{
					if (currentOpts->D > 89)
						currentOpts->D = 100;
					else
						currentOpts->D += 10;
					break;
				}
				break;
			case 8: //+1
				if (sideSel == 1)
				{
					if (currentOpts->dO + currentOpts->dA > 329)
						break;
					currentOpts->dA++;
					currentOpts->A = currentOpts->dA / 330.0 * 0x0FFF;
					break;
				}
				if (sideSel == 2)
				{
					if (currentOpts->F > 9988)
						break;
					currentOpts->F++;
					__HAL_TIM_SetAutoreload(&htim3, 10000 / currentOpts->F);
					break;
				}
				if (sideSel == 3)
				{
					if (currentOpts->dO + currentOpts->dA > 319)
						break;
					currentOpts->dO++;
					currentOpts->O = currentOpts->dO / 330.0 * 0x0FFF;
					break;
				}
				if (sideSel == 4)
				{
					if (currentOpts->D > 99)
						break;
					currentOpts->D++;
					break;
				}
				break;
			}
			if (topSel == 0)
				currentOpts->HT = 100 * currentOpts->D / (float)opts[0].F;
			lcdUpdSide(sideSel, true);
			waitLift = true;
		}

    /* USER CODE END WHILE */

	}
}

void SystemClock_Config(void)
{
  RCC_OscInitTypeDef RCC_OscInitStruct = {0};
  RCC_ClkInitTypeDef RCC_ClkInitStruct = {0};

  /** Configure the main internal regulator output voltage
  */
  HAL_PWREx_ControlVoltageScaling(PWR_REGULATOR_VOLTAGE_SCALE1_BOOST);

  /** Initializes the RCC Oscillators according to the specified parameters
  * in the RCC_OscInitTypeDef structure.
  */
  RCC_OscInitStruct.OscillatorType = RCC_OSCILLATORTYPE_HSI;
  RCC_OscInitStruct.HSIState = RCC_HSI_ON;
  RCC_OscInitStruct.HSICalibrationValue = RCC_HSICALIBRATION_DEFAULT;
  RCC_OscInitStruct.PLL.PLLState = RCC_PLL_ON;
  RCC_OscInitStruct.PLL.PLLSource = RCC_PLLSOURCE_HSI;
  RCC_OscInitStruct.PLL.PLLM = RCC_PLLM_DIV4;
  RCC_OscInitStruct.PLL.PLLN = 80;
  RCC_OscInitStruct.PLL.PLLP = RCC_PLLP_DIV2;
  RCC_OscInitStruct.PLL.PLLQ = RCC_PLLQ_DIV2;
  RCC_OscInitStruct.PLL.PLLR = RCC_PLLR_DIV2;
  if (HAL_RCC_OscConfig(&RCC_OscInitStruct) != HAL_OK)
  {
    Error_Handler();
  }

  /** Initializes the CPU, AHB and APB buses clocks
  */
  RCC_ClkInitStruct.ClockType = RCC_CLOCKTYPE_HCLK|RCC_CLOCKTYPE_SYSCLK
                              |RCC_CLOCKTYPE_PCLK1|RCC_CLOCKTYPE_PCLK2;
  RCC_ClkInitStruct.SYSCLKSource = RCC_SYSCLKSOURCE_PLLCLK;
  RCC_ClkInitStruct.AHBCLKDivider = RCC_SYSCLK_DIV1;
  RCC_ClkInitStruct.APB1CLKDivider = RCC_HCLK_DIV1;
  RCC_ClkInitStruct.APB2CLKDivider = RCC_HCLK_DIV2;

  if (HAL_RCC_ClockConfig(&RCC_ClkInitStruct, FLASH_LATENCY_4) != HAL_OK)
  {
    Error_Handler();
  }
}

/* USER CODE BEGIN 4 */

uint16_t filter(uint32_t *arr) {
	int max = 0, min = 1, sum = 0;
	int *cpy = (int *)malloc(5 * sizeof(int));
	memcpy(cpy, arr, 5 * sizeof(int));
	for(int i = 4; i >= 0; i--) {
		if(*(cpy + i) > *(cpy + max)) max = i;
		if(*(cpy + i) < *(cpy + min)) min = i;
	}
	for(int i = 4; i >= 0; i--) {
		if(i == max || i == min) continue;
		sum += *(cpy + i);
	}
	free(cpy);
	return (sum / 3);
}

void HAL_TIM_PeriodElapsedCallback(TIM_HandleTypeDef *htim)
{
	if (htim->Instance == TIM16) {
		pwmData[npwm++] = pwm1 * 100 / pwm2;
		if(npwm == 5) npwm = 0;

//		f1Data[nf1++] = 1000000 / f1;
//		if(nf1 == 5) nf1 = 0;

		f2Data[nf2++] = f2; // 1250 - 100
		if(nf2 == 5) nf2 = 0;

		f3Data[nf3++] = f3;
		if(nf3 == 5) nf3 = 0;

		if(aInput)
		{
			int x = filter(f3Data) - 100;
			if (x < 0) currentOpts->A = 0;
			else if(x > 1250) currentOpts->A = 4095;
			else currentOpts->A = x * 4095/ 1250;
			currentOpts->dA = currentOpts->A * 330 / 0x0FFF;
			x = filter(f2Data);
			if(currentOpts == &opts[2]) {
				x -= 600;
				//debug(x);
				int ot  = (4095 - currentOpts->A) * x / 1000;
				int max = 2048 - (currentOpts->A / 2);
				int min = -2048 + (currentOpts->A / 2);
				currentOpts->O  = (ot > max) ? max : (ot < min) ? min : ot;
				//debug(currentOpts->O);
			}
			else {
				x -= 50;
				int ot  = x * 4095 / 1250;
				int max = 4095 - currentOpts-> A;
				currentOpts->O = ot > max ? max : ot < 0 ? 0 : ot;
			}
			currentOpts->dO = currentOpts->O * 165 / 2048;
			currentOpts->D = filter(pwmData);
			currentOpts->HT = 100 * currentOpts->D / (float)opts[0].F;
			lcdSideUpdAll();
		}
		return;
	}
	if (htim->Instance == TIM6)
	{
		HAL_ADC_Start_DMA(&hadc2, (uint32_t *)adcBuf, 2);
		HAL_ADC_Start_DMA(&hadc1, &adc1Buf, 1);
		return;
	}
	if (htim->Instance == TIM2)
	{ // DAC update
		if (opts[0].on)
			val = PwmFunc;
		else if (opts[1].on)
			val = TriFunc;
		else if (opts[2].on)
			val = SinFunc;
		else if (opts[3].on)
			val = SawFunc;
		else if (opts[4].on)
			val = ConFunc;
		else
			val = 0;

		if (HAL_DAC_SetValue(&hdac3, DAC_CHANNEL_1, DAC_ALIGN_12B_R, val) != HAL_OK)
			LCD_DisplayStringLine(Line1, (uint8_t *)"ERR-DAC3");
		if (HAL_DAC_SetValue(&hdac1, DAC_CHANNEL_1, DAC_ALIGN_12B_R, val) != HAL_OK)
			LCD_DisplayStringLine(Line2, (uint8_t *)"ERR-DAC1");

//		HAL_DAC_Start_DMA(&hdac1, DAC_CHANNEL_1, &val, 1, DAC_ALIGN_12B_R);
//		HAL_DAC_Start_DMA(&hdac3, DAC_CHANNEL_1, &val, 1, DAC_ALIGN_12B_R);
		//		if(HAL_DAC_Start(&hdac1, DAC_CHANNEL_1) != HAL_OK) LCD_DisplayStringLine(Line2, (uint8_t *)"ERR-DAC1-start");
		//		if(HAL_DAC_Start(&hdac3, DAC_CHANNEL_1) != HAL_OK) LCD_DisplayStringLine(Line1, (uint8_t *)"ERR-DAC3-start");
		//		dac1val = val;
		//		dac3val = val;

		//		debug(val);

		return;
	}
	if (htim->Instance == TIM7)
	{ // Graphics
		// TODO: DAC graph
		if (opts[0].on)
			val = PwmFunc;
		else if (opts[1].on)
			val = TriFunc;
		else if (opts[2].on)
			val = SinFunc;
		else if (opts[3].on)
			val = SawFunc;
		else if (opts[4].on)
			val = ConFunc;

		if (val > 4096)
			val = 4096;

		register uint16_t v = 220 - val * 0.03947754, vl = dacGraphLastVal;
		if (graphY == 310)
		{
			drawPt(v, 310, Magenta);
		}
		else
		{
			if (v > vl)
			{
				while (v >= vl)
				{
					drawPt(vl++, graphY, Magenta);
					//					AAProc(vl, graphY + 1);
					//					AAProc(vl, graphY - 1);
					//					AAProc(vl - 1, graphY);
					//					AAProc(vl + 1, graphY);
				}
			}
			else
			{
				while (v <= vl)
				{
					drawPt(vl--, graphY, Magenta);
					//					AAProc(vl, graphY + 1);
					//					AAProc(vl, graphY - 1);
					//					AAProc(vl + 1, graphY);
					//					AAProc(vl - 1, graphY);
				}
			}
		}
		dacGraphLastVal = v;

		// ADC1 loopback graph - for testing
		//		v = 220 - adc1Buf * 0.03947754, vl = adcLoopbackLastVal;
		//		if(graphY == 310) {
		//			drawPt((uint16_t)v, 310, Yellow);
		//			graphY = 309;
		//		}
		//		else {
		//			if(v > vl) {
		//				while(v >= vl++) drawPt(vl, graphY, Yellow);
		//			}
		//			else {
		//				while(v <= vl--) drawPt(vl, graphY, Yellow);
		//			}
		// drawPt((uint16_t)(220 - adc1Buf * 3.3 / 4096 * 49), graphY--, Yellow);
		if (--graphY == 80)
			graphReset();
		//		}
		adcLoopbackLastVal = v;
	}
}
void AAProc(uint16_t x, uint16_t y)
{
	LCD_SetCursor(x, y);
	if (LCD_ReadRAM() == Magenta || LCD_ReadRAM() == DARK_MAG)
		return;
	int cnt = 2;
	LCD_SetCursor(x, y - 1);
	if (LCD_ReadRAM() == Magenta)
		--cnt;
	LCD_SetCursor(x, y + 1);
	if (LCD_ReadRAM() == Magenta && --cnt == 0)
		goto paint;
	LCD_SetCursor(x - 1, y);
	if (LCD_ReadRAM() == Magenta && --cnt == 0)
		goto paint;
	LCD_SetCursor(x + 1, y);
	if (LCD_ReadRAM() == Magenta && --cnt == 0)
		goto paint;
	return;
paint:
	drawPt(x, y, DARK_MAG);
}
void drawPt(uint16_t x, uint16_t y, uint16_t color)
{
	LCD_SetCursor(x, y);
	LCD_WriteRAM_Prepare();
	LCD_WriteRAM(color);
}
void HAL_GPIO_EXTI_Callback(uint16_t pin)
{
	switch (pin)
	{
	case GPIO_PIN_0: // b1 : switch waves
		HAL_Delay(128);
		if (HAL_GPIO_ReadPin(GPIOB, GPIO_PIN_0) != GPIO_PIN_SET)
			return;
		if (++topSel == 5)
		{
			topSel = 0;
			currentOpts = opts;
		}
		else
			++currentOpts;
		LCD_DisplayStringLine(Line0, (uint8_t *)(topStr + topSel * 10));
		lcdUpdSide(1, false);
		lcdUpdSide(2, false);
		lcdUpdSide(3, false);
		sideSel = 0;
		lcdSideShow(Line1, (uint8_t *)"Ampl", false, false);
		lcdSideShow(Line3, (uint8_t *)"Freq", false, false);
		lcdSideShow(Line5, (uint8_t *)"Ofst", false, false);
		lcdSideShow(Line7, (uint8_t *)"Duty\0    " + 5 *(topSel != 0), false, false);
		lcdUpdSide(4, false);
		// if (topSel == 2)
		// { // sine, start early calc
		// 	SinSend(0, currentOpts->F);
		// }
		break;
	case GPIO_PIN_1: // b2 : switch options
		HAL_Delay(128);
		if (HAL_GPIO_ReadPin(GPIOB, GPIO_PIN_1) != GPIO_PIN_SET)
			return;
		lcdUpdSide(sideSel, false);
		if (++sideSel == 4 + (!topSel))
			sideSel = 0;
		lcdUpdSide(sideSel, true);
		break;
	case GPIO_PIN_2: // b3 : toggle
		HAL_Delay(32);
		if (HAL_GPIO_ReadPin(GPIOB, GPIO_PIN_2) != GPIO_PIN_SET)
			return;
		currentOpts->on = !currentOpts->on;
		/*if(!currentOpts->altMode)*/ emuSetTim(currentOpts->F);
		// lcdUpdSide(0, true); //FIXME
		if(currentOpts->on) {
			lcdSideShow(Line0, onOffStr + 5 * currentOpts->on, false, true);
		}
		lcdSideShow(Line0, onOffStr + 5 * currentOpts->on, sideSel == 0, false);
		break;
	}
}

void HAL_COMP_TriggerCallback(COMP_HandleTypeDef *hcomp)
{ // b4 : Redraw graphs
	if (hcomp->Instance != COMP3) return;
	HAL_Delay(32);
	// if (HAL_COMP_GetOutputLevel(&hcomp3) != COMP_OUTPUT_LEVEL_HIGH)
	// 	return;
	// HAL_TIM_Base_Stop_IT(&htim7);
	// graphReset();
	// __HAL_TIM_SET_COUNTER(&htim7, 0xFFFFu);
	// HAL_TIM_Base_Start_IT(&htim7);

	//new b4: Enable/ Disable analog input
	aInput = !aInput;
}

void graphReset()
{
	for (int i = 10; --i;)
		LCD_DisplayStringLine(i * 24, (uint8_t *)"                ");
	LCD_DrawRect(30, 320, 200, 250);
	LCD_SetTextColor(Red);
	LCD_DrawLine(58, 310, 230, Horizontal);  // 0.0V
	LCD_DrawLine(220, 310, 230, Horizontal); // 3.3V
	LCD_SetTextColor(White);
	LCD_DrawLine(73, 310, 230, Horizontal);  // 1.0V
	LCD_DrawLine(122, 310, 230, Horizontal); // 2.0V
	LCD_DrawLine(171, 310, 230, Horizontal); // 3.0V
	graphY = 310;
}
void lcdUpdSide(uint8_t ln, bool hl)
{
	switch (ln)
	{
	case 0:
		lcdSideShow(Line0, onOffStr + 5 * currentOpts->on, hl, currentOpts->on);
		break;
	case 1: {
		uint8_t *t = format("%4.2f", currentOpts->dA * .01);
		lcdSideShow(Line2, t, hl, false);
		free(t);
		break;
		}
	case 2: {
		uint8_t *t = format("%4d", currentOpts->F);
		lcdSideShow(Line4, t, hl, false);
		free(t);
		break;
		}
	case 3: {
		uint8_t *t = format("%4.2f", currentOpts->dO * .01);
		lcdSideShow(Line6, t, hl, false);
		free(t);
		break;
		}
	case 4:
		if (topSel)
			lcdSideShow(Line8, (uint8_t *)"    ", hl, false);
		else
		{
			uint8_t *t = format("%4d", currentOpts->D);
			lcdSideShow(Line8, t, hl, false);
			free(t);
		}
		break;
	}
	//	LCD_SetBackColor(Black);
	//	LCD_SetTextColor(White);
}

void lcdSideShow(uint8_t Line, const uint8_t *ptr, bool highlight, bool green)
{
	u32 i = 16;
	u16 refcolumn = 63; // 319;
	if (highlight)
	{
		LCD_SetBackColor(Blue2);
		LCD_SetTextColor(Black);
	}
	else if (green)
	{
		LCD_SetBackColor(Green);
		LCD_SetTextColor(Black);
	}
	while ((*ptr != 0) && (i < 20)) //	20
	{
		LCD_DisplayChar(Line, refcolumn, *ptr);
		refcolumn -= 16;
		ptr++;
		i++;
	}
	LCD_SetBackColor(Black);
	LCD_SetTextColor(White);
}

inline void emuSetTim(const uint16_t f)
{
	HAL_TIM_Base_Stop_IT(&htim3);
	__HAL_TIM_SetAutoreload(&htim3, (uint16_t)(100000 / f));
	__HAL_TIM_SetCounter(&htim3, 65535);
	HAL_TIM_Base_Start_IT(&htim3);
}

void HAL_CORDIC_CalculateCpltCallback(CORDIC_HandleTypeDef *hcordic)
{
	if (hcordic->State == HAL_CORDIC_STATE_READY)
		waitCalc = false;
}

uint8_t *format(char *fmt, ...)
{
	va_list ap;
	va_start(ap, fmt);
	uint8_t *buffer = (uint8_t *)malloc(16);
	if (buffer == NULL)
		return NULL;
	memset(buffer, 0, 16);
	vsprintf((char *)buffer, fmt, ap);
	return buffer;
}

/* USER CODE END 4 */

void Error_Handler(void)
{
	__disable_irq();
	while (1)
	{
	}
}
